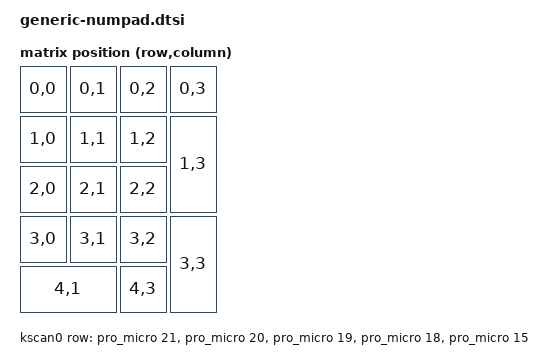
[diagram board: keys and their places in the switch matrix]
#include <physical_layouts.dtsi>
#include <dt-bindings/zmk/matrix_transform.h>

/ {
    chosen {
        zmk,kscan = &kscan0;
        zmk,matrix-transform = &default_transform;
        zmk,physical-layout = &layout;
    };

    default_transform: keymap_transform_0 {
        compatible = "zmk,matrix-transform";
        columns = <4>;
        rows = <5>;
        map = <
    RC(0,0) RC(0,1) RC(0,2) RC(0,3)
    RC(1,0) RC(1,1) RC(1,2) RC(1,3)
    RC(2,0) RC(2,1) RC(2,2)
    RC(3,0) RC(3,1) RC(3,2) RC(3,3)
            RC(4,1)         RC(4,3)
        >;
    };
    kscan0: kscan {
        compatible = "zmk,kscan-gpio-matrix";

        diode-direction = "col2row";
        row-gpios
            = <&pro_micro 21 (GPIO_ACTIVE_HIGH | GPIO_PULL_DOWN)>
            , <&pro_micro 20 (GPIO_ACTIVE_HIGH | GPIO_PULL_DOWN)>
            , <&pro_micro 19 (GPIO_ACTIVE_HIGH | GPIO_PULL_DOWN)>
            , <&pro_micro 18 (GPIO_ACTIVE_HIGH | GPIO_PULL_DOWN)>
            , <&pro_micro 15 (GPIO_ACTIVE_HIGH | GPIO_PULL_DOWN)>
            ;
    };

    layout: layout {
        compatible = "zmk,physical-layout";
        display-name = "generic numpad";

        kscan = <&kscan0>;
        transform = <&default_transform>;

        keys  //                     w   h    x    y     rot    rx    ry
            = <&key_physical_attrs 100 100    0    0       0     0     0>
            , <&key_physical_attrs 100 100  100    0       0     0     0>
            , <&key_physical_attrs 100 100  200    0       0     0     0>
            , <&key_physical_attrs 100 100  300    0       0     0     0>
            , <&key_physical_attrs 100 100    0  100       0     0     0>
            , <&key_physical_attrs 100 100  100  100       0     0     0>
            , <&key_physical_attrs 100 100  200  100       0     0     0>
            , <&key_physical_attrs 100 200  300  100       0     0     0>
            , <&key_physical_attrs 100 100    0  200       0     0     0>
            , <&key_physical_attrs 100 100  100  200       0     0     0>
            , <&key_physical_attrs 100 100  200  200       0     0     0>
            , <&key_physical_attrs 100 100    0  300       0     0     0>
            , <&key_physical_attrs 100 100  100  300       0     0     0>
            , <&key_physical_attrs 100 100  200  300       0     0     0>
            , <&key_physical_attrs 100 200  300  300       0     0     0>
            , <&key_physical_attrs 200 100    0  400       0     0     0>
            , <&key_physical_attrs 100 100  200  400       0     0     0>
            ;
    };
};
